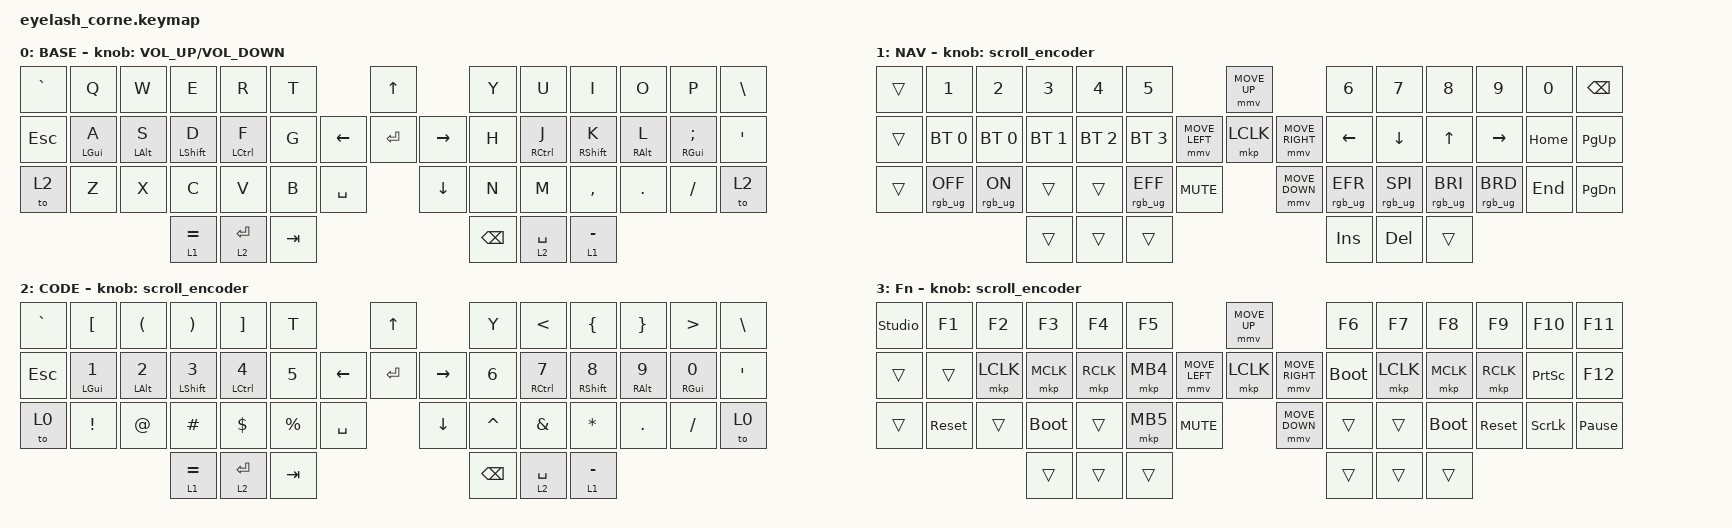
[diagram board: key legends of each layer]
#define ZMK_POINTING_DEFAULT_MOVE_VAL 1200  // 600
#define ZMK_POINTING_DEFAULT_SCRL_VAL 25   // 10

#include <input/processors.dtsi>
#include <zephyr/dt-bindings/input/input-event-codes.h>
#include <behaviors.dtsi>
#include <dt-bindings/zmk/bt.h>
#include <dt-bindings/zmk/keys.h>
#include <dt-bindings/zmk/outputs.h>
#include <dt-bindings/zmk/pointing.h>
#include <dt-bindings/zmk/rgb.h>

&mmv_input_listener { input-processors = <&zip_xy_scaler 2 1>; };

&msc_input_listener { input-processors = <&zip_scroll_scaler 2 1>; };

&msc {
    acceleration-exponent = <1>;      // 0
    time-to-max-speed-ms = <100>;       // 300
    delay-ms = <0>;                   // 0
};

&mmv {
    time-to-max-speed-ms = <500>;
    acceleration-exponent = <1>;
    trigger-period-ms = <16>;
};

&soft_off { hold-time-ms = <2000>; };

/ {
    behaviors {
        td0: td0 {
            compatible = "zmk,behavior-tap-dance";
            display-name = "Shift/Caps Lock Tap Dance";
            #binding-cells = <0>;
            bindings = <&kp LEFT_SHIFT>, <&kp CAPS>;
        };

        hml: home_row_mod_left {
            compatible = "zmk,behavior-hold-tap";
            #binding-cells = <2>;
            flavor = "balanced";
            require-prior-idle-ms = <150>;
            tapping-term-ms = <280>;
            quick-tap-ms = <175>;
            bindings = <&kp>, <&kp>;
            // hold-trigger-key-positions = < ... >; // List of keys on the right side of the keyboard
            hold-trigger-on-release;
        };
        hmr: home_row_mod_right {
            compatible = "zmk,behavior-hold-tap";
            #binding-cells = <2>;
            flavor = "balanced";
            require-prior-idle-ms = <150>;
            tapping-term-ms = <280>;
            quick-tap-ms = <175>;
            bindings = <&kp>, <&kp>;
            // hold-trigger-key-positions = < ... >; // List of keys on the left side of the keyboard
            hold-trigger-on-release;
        };
    };

    rgb_encoder: rgb_encoder {
        compatible = "zmk,behavior-sensor-rotate";
        #sensor-binding-cells = <0>;
        bindings = <&rgb_ug RGB_BRI>, <&rgb_ug RGB_BRD>;
    };

    scroll_encoder: scroll_encoder {
        compatible = "zmk,behavior-sensor-rotate";
        #sensor-binding-cells = <0>;
        bindings = <&msc SCRL_DOWN>, <&msc SCRL_UP>;

        tap-ms = <100>;
    };

    combos {
        compatible = "zmk,combos";

        softoff {
            bindings = <&soft_off>;
            key-positions = <1 15 29>;
        };
    };

    keymap {
        compatible = "zmk,keymap";

        default_layer {
            display-name = "BASE";
            bindings = <
 &kp GRAVE   &kp Q       &kp W   &kp E    &kp R       &kp T &kp UP    &kp Y     &kp U     &kp I &kp O     &kp P   &kp BSLH
 &kp ESC     &mt LGUI A       &mt LALT S   &mt LSHIFT D    &mt LCTRL F       &kp G &kp LEFT  &kp ENTER &kp RIGHT &kp H &mt RCTRL J     &mt RSHIFT K   &mt RALT L &mt RGUI SEMI &kp SQT
 &to 2   &kp Z       &kp X   &kp C    &kp V       &kp B &kp SPACE &kp DOWN  &kp N     &kp M &kp COMMA &kp DOT &kp FSLH    &to 2
 &lt 1 EQUAL    &lt 2 ENTER &kp TAB &kp BSPC &lt 2 SPACE &lt 1 MINUS
            >;

            sensor-bindings = <&inc_dec_kp C_VOLUME_UP C_VOLUME_DOWN>;
        };

        lower_layer {
            display-name = "NAV";
            bindings = <
&trans  &kp N1           &kp N2          &kp N3        &kp N4        &kp N5                                         &mmv MOVE_UP                     &kp N6           &kp N7           &kp N8           &kp N9           &kp N0    &kp BSPC
&trans  &bt BT_SEL 0   &bt BT_SEL 0    &bt BT_SEL 1  &bt BT_SEL 2  &bt BT_SEL 3                   &mmv MOVE_LEFT  &mkp LCLK       &mmv MOVE_RIGHT  &kp LEFT         &kp DOWN         &kp UP           &kp RIGHT        &kp HOME  &kp PG_UP
&trans  &rgb_ug RGB_OFF  &rgb_ug RGB_ON  &trans        &trans        &rgb_ug RGB_EFF  &kp C_MUTE                    &mmv MOVE_DOWN                   &rgb_ug RGB_EFR  &rgb_ug RGB_SPI  &rgb_ug RGB_BRI  &rgb_ug RGB_BRD  &kp END   &kp PG_DN
                                         &trans        &trans        &trans                                                                          &kp INS          &kp DEL          &trans
            >;

            sensor-bindings = <&scroll_encoder>;
        };

        raise_layer {
            display-name = "CODE";
            bindings = <
 &kp GRAVE   &kp LEFT_BRACKET       &kp LEFT_PARENTHESIS   &kp RIGHT_PARENTHESIS    &kp RIGHT_BRACKET       &kp T &kp UP    &kp Y     &kp LESS_THAN     &kp LEFT_BRACE &kp RIGHT_BRACE     &kp GREATER_THAN   &kp BSLH
 &kp ESC     &mt LGUI N1       &mt LALT N2   &mt LSHIFT N3    &mt LCTRL N4       &kp N5 &kp LEFT  &kp ENTER &kp RIGHT &kp N6 &mt RCTRL N7     &mt RSHIFT N8   &mt RALT N9 &mt RGUI N0 &kp SQT
 &to 0   &kp EXCL       &kp AT   &kp HASH    &kp DOLLAR       &kp PERCENT &kp SPACE &kp DOWN  &kp CARET     &kp AMPS &kp ASTERISK &kp DOT &kp FSLH    &to 0
 &lt 1 EQUAL    &lt 2 ENTER &kp TAB &kp BSPC &lt 2 SPACE &lt 1 MINUS
            >;

            sensor-bindings = <&scroll_encoder>;
        };

        layer_3 {
            display-name = "Fn";
            bindings = <
&studio_unlock  &kp F1      &kp F2     &kp F3       &kp F4     &kp F5                                  &mmv MOVE_UP                     &kp F6       &kp F7     &kp F8       &kp F9      &kp F10          &kp F11
&trans          &trans      &mkp LCLK  &mkp MCLK    &mkp RCLK  &mkp MB4                &mmv MOVE_LEFT  &mkp LCLK       &mmv MOVE_RIGHT  &bootloader  &mkp LCLK  &mkp MCLK    &mkp RCLK   &kp PRINTSCREEN  &kp F12
&trans          &sys_reset  &trans     &bootloader  &trans     &mkp MB5  &kp C_MUTE                    &mmv MOVE_DOWN                   &trans       &trans     &bootloader  &sys_reset  &kp SCROLLLOCK   &kp PAUSE_BREAK
                                       &trans       &trans     &trans                                                                   &trans       &trans     &trans
            >;

            sensor-bindings = <&scroll_encoder>;
        };
    };
};
